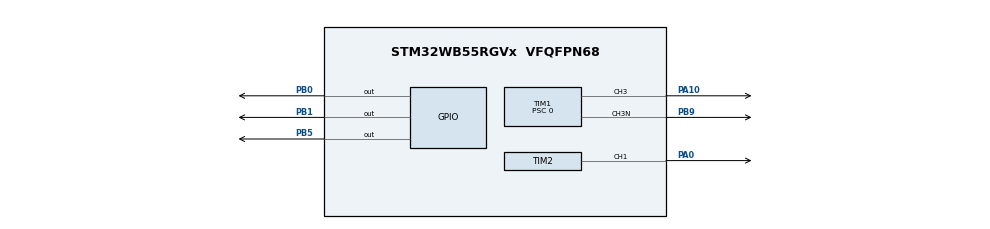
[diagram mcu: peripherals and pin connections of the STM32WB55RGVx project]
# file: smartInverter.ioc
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Mcu.Family=STM32WB
Mcu.Name=STM32WB55RGVx
Mcu.Package=VFQFPN68
NVIC.PriorityGroup=NVIC_PRIORITYGROUP_4
NVIC.TIM1_UP_TIM16_IRQn=true\:0\:0\:false\:false\:true\:true\:true\:true
OSC_IN.Mode=HSE-External-Oscillator
OSC_IN.Signal=RCC_OSC_IN
OSC_OUT.Mode=HSE-External-Oscillator
OSC_OUT.Signal=RCC_OSC_OUT
PA0.Signal=S_TIM2_CH1
PA10.Signal=S_TIM1_CH3
PB0.Signal=GPIO_Output
PB1.Signal=GPIO_Output
PB5.Signal=GPIO_Output
PB9.Mode=PWM Generation3 CH3 CH3N
PB9.Signal=TIM1_CH3N
PC14-OSC32_IN.Mode=LSE-External-Oscillator
PC14-OSC32_IN.Signal=RCC_OSC32_IN
PC15-OSC32_OUT.Mode=LSE-External-Oscillator
PC15-OSC32_OUT.Signal=RCC_OSC32_OUT
ProjectManager.HeapSize=0x200
ProjectManager.StackSize=0x400
ProjectManager.TargetToolchain=STM32CubeIDE
RCC.ADCFreq_Value=48000000
RCC.AHBFreq_Value=32000000
RCC.APB1Freq_Value=32000000
RCC.APB1TimFreq_Value=32000000
RCC.APB2Freq_Value=32000000
RCC.APB2TimFreq_Value=32000000
RCC.APB3Freq_Value=16000000
RCC.CortexFreq_Value=32000000
RCC.HCLKFreq_Value=32000000
RCC.HSE_VALUE=32000000
RCC.HSI48_VALUE=48000000
RCC.HSI_VALUE=16000000
RCC.MSIClockRange=RCC_MSIRANGE_10
RCC.PLLM=RCC_PLLM_DIV2
RCC.PLLSAI1N=6
RCC.SYSCLKFreq_VALUE=32000000
RCC.USBFreq_Value=48000000
RCC.VCOOutputFreq_Value=128000000
SH.S_TIM1_CH3.0=TIM1_CH3,PWM Generation3 CH3 CH3N
SH.S_TIM2_CH1.0=TIM2_CH1,PWM Generation1 CH1
TIM1.AutoReloadPreload=TIM_AUTORELOAD_PRELOAD_ENABLE
TIM1.Break2State=TIM_BREAK2_ENABLE
TIM1.BreakState=TIM_BREAK_ENABLE
TIM1.Channel-PWM\ Generation3\ CH3\ CH3N=TIM_CHANNEL_3
TIM1.CounterMode=TIM_COUNTERMODE_CENTERALIGNED1
TIM1.DeadTime=230
TIM1.OCMode_PWM-PWM\ Generation3\ CH3\ CH3N=TIM_OCMODE_ASSYMETRIC_PWM1
TIM1.Period=6400-1
TIM1.Prescaler=0
TIM2.AutoReloadPreload=TIM_AUTORELOAD_PRELOAD_ENABLE
TIM2.Channel-PWM\ Generation1\ CH1=TIM_CHANNEL_1
TIM2.Period=32000-1
TIM2.Pulse-PWM\ Generation1\ CH1=16000-1
VP_TIM1_VS_ClockSourceINT.Mode=Internal
VP_TIM2_VS_ClockSourceINT.Mode=Internal
board=custom

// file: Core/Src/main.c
/* USER CODE BEGIN Header */
/**
  ******************************************************************************
  * @file           : main.c
  * @brief          : Main program body
  ******************************************************************************
  * @attention
  *
  * Copyright (c) 2022 STMicroelectronics.
  * All rights reserved.
  *
  * This software is licensed under terms that can be found in the LICENSE file
  * in the root directory of this software component.
  * If no LICENSE file comes with this software, it is provided AS-IS.
  *
  ******************************************************************************
  */
/* USER CODE END Header */
#include "main.h"

/* USER CODE BEGIN Includes */
#include "stdbool.h"
/* USER CODE END Includes */

 TIM_HandleTypeDef htim1;
TIM_HandleTypeDef htim2;

/* USER CODE BEGIN PV */
bool toggle = true;
int count = 0;
/* USER CODE END PV */

void SystemClock_Config(void);
void PeriphCommonClock_Config(void);
static void MX_GPIO_Init(void);
static void MX_TIM1_Init(void);
static void MX_TIM2_Init(void);

/* USER CODE BEGIN 0 */
/*

*/
int sinedata[] = {3250,	3341,	3451,	3541,	3651,	3740,	3859,	3927,
		4054,	4122,	4246,	4312,	4434,	4489,	4626,	4671,	4803,
		4846,	4974,	5015,	5145,	5169,	5301,	5324,	5448,	5470,
		5587,	5607,	5716,	5735,	5841,	5847,	5949,	5954,	6047,
		6051,	6133,	6137,	6207,	6211,	6270,	6273,	6321,	6323,
		6359,	6361,	6385,	6386,	6398,	6398,	6399,	6398,	6387,
		6386,	6362,	6361,	6325,	6323,	6276,	6273,	6214,	6211,
		6141,	6137,	6056,	6051,	5959,	5954,	5852,	5847,	5741,
		5722,	5614,	5594,	5477,	5456,	5331,	5309,	5177,	5153,
		5024,	4982,	4855,	4812,	4680,	4635,	4498,	4443,	4322,
		4256,	4131,	4064,	3937,	3869,	3750,	3661,	3551,	3461,
		3351,	3260,	3150,	3059,	2949,	2859,	2749,	2660,	2541,
		2473,	2346,	2278,	2154,	2088,	1966,	1911,	1774,	1729,
		1597,	1554,	1426,	1385,	1255,	1231,	1099,	1076,	952	,
		930,	813	,	793	,	684	,	665	,	559	,	553	,	451	,	446,
		353,	349	,	267	,	263	,	193	,	189	,	130	,	127	,	79,
		77,		41	,	39	,	15	,	14	,	2	,	2	,	1	,	2,
		13,		14	,	38	,	39	,	75	,	77	,	124	,	127,	186,
		189,	259	,	263	,	344	,	349	,	441	,	446	,	548	,	553,
		659,	678	,	786	,	806	,	923	,	944	,	1069,	1091,	1223,
		1247,	1376,	1418,	1545,	1588,	1720,	1765,	1902,	1957,
		2078,	2144,	2269,	2336,	2463,	2531,	2650,	2739,	2849,
		2939,	3049,	3140};
/* USER CODE END 0 */

int main(void)
{

  /* MCU Configuration--------------------------------------------------------*/

  /* Reset of all peripherals, Initializes the Flash interface and the Systick. */
  HAL_Init();

  /* Configure the system clock */
  SystemClock_Config();

/* Configure the peripherals common clocks */
  PeriphCommonClock_Config();

  /* Initialize all configured peripherals */
  MX_GPIO_Init();
  MX_TIM1_Init();
  MX_TIM2_Init();
  /* USER CODE BEGIN 2 */
  HAL_TIM_Base_Start_IT(&htim1);
  HAL_TIM_Base_Start_IT(&htim2);
  HAL_TIM_PWM_Start(&htim2,TIM_CHANNEL_1);
  HAL_TIM_PWM_Start(&htim1,TIM_CHANNEL_1);
  HAL_TIMEx_PWMN_Start(&htim1, TIM_CHANNEL_1);
  //HAL_TIM_OC_Start(&htim1,TIM_CHANNEL_2);
  HAL_TIM_PWM_Start(&htim1,TIM_CHANNEL_3);
  HAL_TIM_PWM_Start(&htim1,TIM_CHANNEL_4);
  HAL_TIMEx_PWMN_Start(&htim1, TIM_CHANNEL_3);
  HAL_TIMEx_PWMN_Start(&htim1, TIM_CHANNEL_4);

  /* USER CODE END 2 */

  /* Infinite loop */
  while (1)
  {

  }
}

void SystemClock_Config(void)
{
  RCC_OscInitTypeDef RCC_OscInitStruct = {0};
  RCC_ClkInitTypeDef RCC_ClkInitStruct = {0};

  /** Configure the main internal regulator output voltage
  */
  __HAL_PWR_VOLTAGESCALING_CONFIG(PWR_REGULATOR_VOLTAGE_SCALE1);

  /** Initializes the RCC Oscillators according to the specified parameters
  * in the RCC_OscInitTypeDef structure.
  */
  RCC_OscInitStruct.OscillatorType = RCC_OSCILLATORTYPE_HSI|RCC_OSCILLATORTYPE_HSE
                              |RCC_OSCILLATORTYPE_MSI;
  RCC_OscInitStruct.HSEState = RCC_HSE_ON;
  RCC_OscInitStruct.HSIState = RCC_HSI_ON;
  RCC_OscInitStruct.MSIState = RCC_MSI_ON;
  RCC_OscInitStruct.HSICalibrationValue = RCC_HSICALIBRATION_DEFAULT;
  RCC_OscInitStruct.MSICalibrationValue = RCC_MSICALIBRATION_DEFAULT;
  RCC_OscInitStruct.MSIClockRange = RCC_MSIRANGE_10;
  RCC_OscInitStruct.PLL.PLLState = RCC_PLL_NONE;
  if (HAL_RCC_OscConfig(&RCC_OscInitStruct) != HAL_OK)
  {
    Error_Handler();
  }

  /** Configure the SYSCLKSource, HCLK, PCLK1 and PCLK2 clocks dividers
  */
  RCC_ClkInitStruct.ClockType = RCC_CLOCKTYPE_HCLK4|RCC_CLOCKTYPE_HCLK2
                              |RCC_CLOCKTYPE_HCLK|RCC_CLOCKTYPE_SYSCLK
                              |RCC_CLOCKTYPE_PCLK1|RCC_CLOCKTYPE_PCLK2;
  RCC_ClkInitStruct.SYSCLKSource = RCC_SYSCLKSOURCE_MSI;
  RCC_ClkInitStruct.AHBCLKDivider = RCC_SYSCLK_DIV1;
  RCC_ClkInitStruct.APB1CLKDivider = RCC_HCLK_DIV1;
  RCC_ClkInitStruct.APB2CLKDivider = RCC_HCLK_DIV1;
  RCC_ClkInitStruct.AHBCLK2Divider = RCC_SYSCLK_DIV1;
  RCC_ClkInitStruct.AHBCLK4Divider = RCC_SYSCLK_DIV1;

  if (HAL_RCC_ClockConfig(&RCC_ClkInitStruct, FLASH_LATENCY_1) != HAL_OK)
  {
    Error_Handler();
  }
}

void PeriphCommonClock_Config(void)
{
  RCC_PeriphCLKInitTypeDef PeriphClkInitStruct = {0};

  /** Initializes the peripherals clock
  */
  PeriphClkInitStruct.PeriphClockSelection = RCC_PERIPHCLK_SMPS;
  PeriphClkInitStruct.SmpsClockSelection = RCC_SMPSCLKSOURCE_HSI;
  PeriphClkInitStruct.SmpsDivSelection = RCC_SMPSCLKDIV_RANGE1;

  if (HAL_RCCEx_PeriphCLKConfig(&PeriphClkInitStruct) != HAL_OK)
  {
    Error_Handler();
  }
}

static void MX_TIM1_Init(void)
{

  TIM_ClockConfigTypeDef sClockSourceConfig = {0};
  TIM_MasterConfigTypeDef sMasterConfig = {0};
  TIM_OC_InitTypeDef sConfigOC = {0};
  TIM_BreakDeadTimeConfigTypeDef sBreakDeadTimeConfig = {0};

  htim1.Instance = TIM1;
  htim1.Init.Prescaler = 0;
  htim1.Init.CounterMode = TIM_COUNTERMODE_CENTERALIGNED1;
  htim1.Init.Period = 6400-1;
  htim1.Init.ClockDivision = TIM_CLOCKDIVISION_DIV1;
  htim1.Init.RepetitionCounter = 0;
  htim1.Init.AutoReloadPreload = TIM_AUTORELOAD_PRELOAD_ENABLE;
  if (HAL_TIM_Base_Init(&htim1) != HAL_OK)
  {
    Error_Handler();
  }
  sClockSourceConfig.ClockSource = TIM_CLOCKSOURCE_INTERNAL;
  if (HAL_TIM_ConfigClockSource(&htim1, &sClockSourceConfig) != HAL_OK)
  {
    Error_Handler();
  }
  if (HAL_TIM_PWM_Init(&htim1) != HAL_OK)
  {
    Error_Handler();
  }
  sMasterConfig.MasterOutputTrigger = TIM_TRGO_RESET;
  sMasterConfig.MasterOutputTrigger2 = TIM_TRGO2_RESET;
  sMasterConfig.MasterSlaveMode = TIM_MASTERSLAVEMODE_DISABLE;
  if (HAL_TIMEx_MasterConfigSynchronization(&htim1, &sMasterConfig) != HAL_OK)
  {
    Error_Handler();
  }
  sConfigOC.OCMode = TIM_OCMODE_ASSYMETRIC_PWM1;
  sConfigOC.Pulse = 0;
  sConfigOC.OCPolarity = TIM_OCPOLARITY_HIGH;
  sConfigOC.OCNPolarity = TIM_OCNPOLARITY_HIGH;
  sConfigOC.OCFastMode = TIM_OCFAST_DISABLE;
  sConfigOC.OCIdleState = TIM_OCIDLESTATE_RESET;
  sConfigOC.OCNIdleState = TIM_OCNIDLESTATE_RESET;
  if (HAL_TIM_PWM_ConfigChannel(&htim1, &sConfigOC, TIM_CHANNEL_3) != HAL_OK)
  {
    Error_Handler();
  }
  sBreakDeadTimeConfig.OffStateRunMode = TIM_OSSR_DISABLE;
  sBreakDeadTimeConfig.OffStateIDLEMode = TIM_OSSI_DISABLE;
  sBreakDeadTimeConfig.LockLevel = TIM_LOCKLEVEL_OFF;
  sBreakDeadTimeConfig.DeadTime = 230;
  sBreakDeadTimeConfig.BreakState = TIM_BREAK_ENABLE;
  sBreakDeadTimeConfig.BreakPolarity = TIM_BREAKPOLARITY_HIGH;
  sBreakDeadTimeConfig.BreakFilter = 0;
  sBreakDeadTimeConfig.BreakAFMode = TIM_BREAK_AFMODE_INPUT;
  sBreakDeadTimeConfig.Break2State = TIM_BREAK2_ENABLE;
  sBreakDeadTimeConfig.Break2Polarity = TIM_BREAK2POLARITY_HIGH;
  sBreakDeadTimeConfig.Break2Filter = 0;
  sBreakDeadTimeConfig.Break2AFMode = TIM_BREAK_AFMODE_INPUT;
  sBreakDeadTimeConfig.AutomaticOutput = TIM_AUTOMATICOUTPUT_DISABLE;
  if (HAL_TIMEx_ConfigBreakDeadTime(&htim1, &sBreakDeadTimeConfig) != HAL_OK)
  {
    Error_Handler();
  }
  /* USER CODE BEGIN TIM1_Init 2 */
 /* __HAL_TIM_SET_COMPARE(&htim1, TIM_CHANNEL_1, sinedata[count]);
  count++;
  __HAL_TIM_SET_COMPARE(&htim1, TIM_CHANNEL_2, sinedata[count]);
  count++;
*/
  /* USER CODE END TIM1_Init 2 */
  HAL_TIM_MspPostInit(&htim1);

}

static void MX_TIM2_Init(void)
{

  TIM_ClockConfigTypeDef sClockSourceConfig = {0};
  TIM_MasterConfigTypeDef sMasterConfig = {0};
  TIM_OC_InitTypeDef sConfigOC = {0};

  htim2.Instance = TIM2;
  htim2.Init.Prescaler = 0;
  htim2.Init.CounterMode = TIM_COUNTERMODE_UP;
  htim2.Init.Period = 32000-1;
  htim2.Init.ClockDivision = TIM_CLOCKDIVISION_DIV1;
  htim2.Init.AutoReloadPreload = TIM_AUTORELOAD_PRELOAD_ENABLE;
  if (HAL_TIM_Base_Init(&htim2) != HAL_OK)
  {
    Error_Handler();
  }
  sClockSourceConfig.ClockSource = TIM_CLOCKSOURCE_INTERNAL;
  if (HAL_TIM_ConfigClockSource(&htim2, &sClockSourceConfig) != HAL_OK)
  {
    Error_Handler();
  }
  if (HAL_TIM_PWM_Init(&htim2) != HAL_OK)
  {
    Error_Handler();
  }
  sMasterConfig.MasterOutputTrigger = TIM_TRGO_RESET;
  sMasterConfig.MasterSlaveMode = TIM_MASTERSLAVEMODE_DISABLE;
  if (HAL_TIMEx_MasterConfigSynchronization(&htim2, &sMasterConfig) != HAL_OK)
  {
    Error_Handler();
  }
  sConfigOC.OCMode = TIM_OCMODE_PWM1;
  sConfigOC.Pulse = 16000-1;
  sConfigOC.OCPolarity = TIM_OCPOLARITY_HIGH;
  sConfigOC.OCFastMode = TIM_OCFAST_DISABLE;
  if (HAL_TIM_PWM_ConfigChannel(&htim2, &sConfigOC, TIM_CHANNEL_1) != HAL_OK)
  {
    Error_Handler();
  }
  HAL_TIM_MspPostInit(&htim2);

}

static void MX_GPIO_Init(void)
{
  GPIO_InitTypeDef GPIO_InitStruct = {0};

  /* GPIO Ports Clock Enable */
  __HAL_RCC_GPIOC_CLK_ENABLE();
  __HAL_RCC_GPIOB_CLK_ENABLE();
  __HAL_RCC_GPIOA_CLK_ENABLE();

  /*Configure GPIO pin Output Level */
  HAL_GPIO_WritePin(GPIOB, GPIO_PIN_0|GPIO_PIN_1|GPIO_PIN_5, GPIO_PIN_RESET);

  /*Configure GPIO pins : PB0 PB1 PB5 */
  GPIO_InitStruct.Pin = GPIO_PIN_0|GPIO_PIN_1|GPIO_PIN_5;
  GPIO_InitStruct.Mode = GPIO_MODE_OUTPUT_PP;
  GPIO_InitStruct.Pull = GPIO_NOPULL;
  GPIO_InitStruct.Speed = GPIO_SPEED_FREQ_LOW;
  HAL_GPIO_Init(GPIOB, &GPIO_InitStruct);

}

/* USER CODE BEGIN 4 */
//Callback; timer has reset
void HAL_TIM_PeriodElapsedCallback(TIM_HandleTypeDef *htim)
{
	if(htim == &htim1)
	{
		HAL_GPIO_TogglePin(GPIOB, GPIO_PIN_1);
		__HAL_TIM_SET_COMPARE(&htim1, TIM_CHANNEL_3, sinedata[count]);
		count++;
		__HAL_TIM_SET_COMPARE(&htim1, TIM_CHANNEL_4, sinedata[count]);
		count++;
		//HAL_GPIO_TogglePin(GPIOB, GPIO_PIN_5);
		if(count == 200)
		{
			count = 0;
		}
	}
	/*else if(htim == &htim2)
	{
		if(count == 399)
		{
			count = 0;
		else
		{
			count++;
		}

		//HAL_GPIO_TogglePin(GPIOB, GPIO_PIN_5);
		//__HAL_TIM_SET_COMPARE(&htim1, TIM_CHANNEL_1, 0);
		//toggle = !toggle;

	}*/

}

/* USER CODE END 4 */

void Error_Handler(void)
{
  __disable_irq();
  while (1)
  {
  }
}
